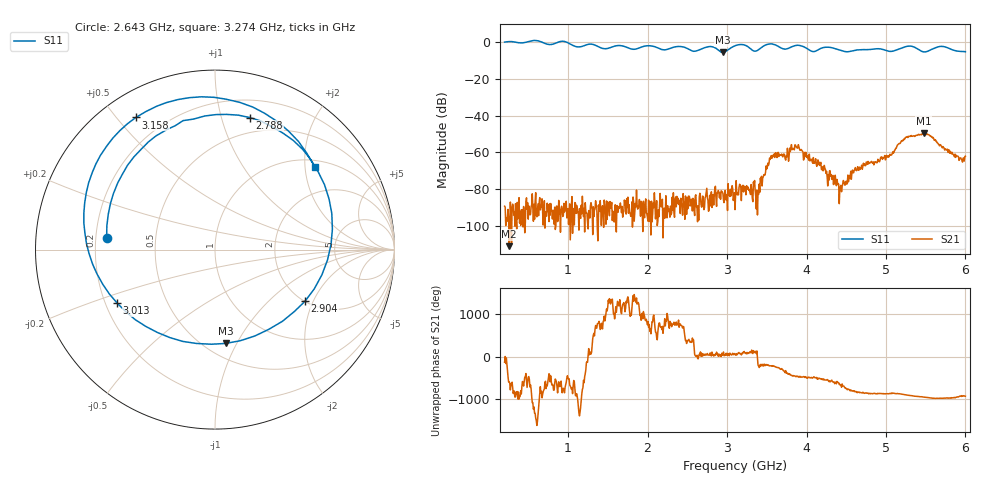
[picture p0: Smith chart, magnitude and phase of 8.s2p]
! NanoVNA-App
! Date: 2024-06-25 16:14:28
! Start: 200MHz Stop: 6GHz Points: 801
! S-Parameter data: F S11 S21 S12 S22
# Hz S RI R 50
!  Frequency  S11_Real  S11_Imag  S21_Real  S21_Imag  S12_Real  S12_Imag  S22_Real  S22_Imag
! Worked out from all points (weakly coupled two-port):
!   801 points, 200 MHz to 6 GHz, reference 50 ohm
!   highest |S21| = -49.48 dB at 5.478 GHz (marker M1); lowest = -111.0 dB at 258 MHz (marker M2)
!   lowest |S11| = -5.6 dB at 2.948 GHz (marker M3), VSWR 3.22, Z = 31.2 - j45.1 ohm
!   |S11| at or under -10 dB: nowhere
!   S12 and S22 are empty: the file has one direction only
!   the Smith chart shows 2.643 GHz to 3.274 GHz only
!   S11 on the Smith chart (normalised r, x): 2.643 GHz: 0.24, +0.05; 2.788 GHz: 0.35, +1.24; 2.904 GHz: 2.01, -1.74; 3.013 GHz: 0.25, -0.24; 3.158 GHz: 0.10, +0.56; 3.274 GHz: 1.17, +2.25
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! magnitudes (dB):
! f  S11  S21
! 200 MHz  0.0  -89.2
! 258 MHz  0.3  -111.0
! 1.171 GHz  -2.4  -93.4
! 2.136 GHz  -3.3  -91.2
! 2.643 GHz  -4.3  -96.9
! 2.788 GHz  -2.4  -89.1
! 2.904 GHz  -4.8  -84.6
! 2.948 GHz  -5.6  -82.2
! 3.013 GHz  -4.1  -77.0
! 3.1 GHz  -2.0  -91.1
! 3.158 GHz  -1.3  -77.3
! 3.274 GHz  -2.8  -80.6
! 3.383 GHz  -4.5  -94.0
! 3.586 GHz  -1.2  -62.0
! 3.883 GHz  -1.7  -57.6
! 4.072 GHz  -5.1  -65.1
! 4.427 GHz  -4.4  -78.5
! 4.601 GHz  -4.5  -69.6
! 5.036 GHz  -5.0  -62.5
! 5.253 GHz  -2.4  -51.7
! 5.478 GHz  -5.3  -49.5
! 6 GHz  -5.2  -62.0
